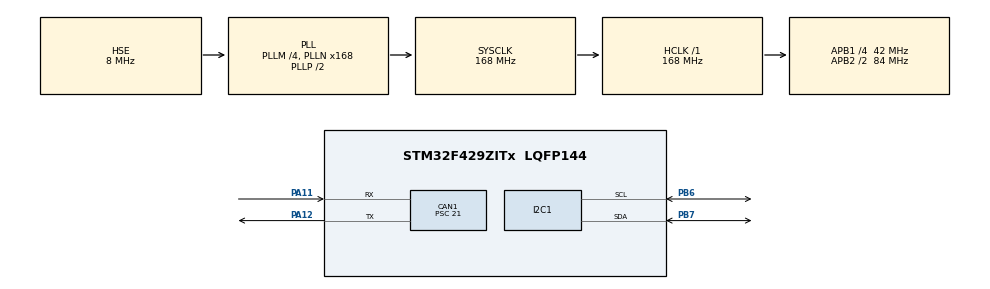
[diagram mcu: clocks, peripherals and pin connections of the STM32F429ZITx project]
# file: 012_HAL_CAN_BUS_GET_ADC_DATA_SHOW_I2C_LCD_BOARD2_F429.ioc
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Mcu.Family=STM32F4
RCC.PLLSourceVirtual=RCC_PLLSOURCE_HSE
RCC.CortexFreq_Value=168000000
CAN1.CalculateBaudRate=117647
PA11.Mode=CAN_Activate
RCC.APB1CLKDivider=RCC_HCLK_DIV4
RCC.SYSCLKSource=RCC_SYSCLKSOURCE_PLLCLK
ProjectManager.StackSize=0x400
PA13.Signal=SYS_JTMS-SWDIO
PA12.Signal=CAN1_TX
CAN1.BS2=CAN_BS2_4TQ
CAN1.BS1=CAN_BS1_12TQ
ProjectManager.TargetToolchain=STM32CubeIDE
I2C1.I2C_Mode=I2C_Standard
PH0/OSC_IN.Mode=HSE-External-Oscillator
RCC.HCLKFreq_Value=168000000
RCC.APB2TimFreq_Value=168000000
PB6.Signal=I2C1_SCL
PH1/OSC_OUT.Signal=RCC_OSC_OUT
PB6.Mode=I2C
RCC.LSE_VALUE=32768
RCC.AHBFreq_Value=168000000
RCC.HSE_VALUE=8000000
board=custom
RCC.VCOOutputFreq_Value=336000000
PH0/OSC_IN.Signal=RCC_OSC_IN
RCC.APB2Freq_Value=84000000
PA14.Mode=Serial_Wire
PB7.Signal=I2C1_SDA
PA13.Mode=Serial_Wire
PH1/OSC_OUT.Mode=HSE-External-Oscillator
Mcu.Name=STM32F429ZITx
RCC.48MHZClocksFreq_Value=84000000
RCC.SYSCLKFreq_VALUE=168000000
CAN1.Prescaler=21
Mcu.Package=LQFP144
PA12.Mode=CAN_Activate
PB7.Mode=I2C
PA11.Signal=CAN1_RX
PA14.Signal=SYS_JTCK-SWCLK
ProjectManager.HeapSize=0x200
RCC.HSI_VALUE=16000000
NVIC.PriorityGroup=NVIC_PRIORITYGROUP_0
RCC.APB2CLKDivider=RCC_HCLK_DIV2
RCC.PLLM=4
RCC.PLLN=168
RCC.APB1TimFreq_Value=84000000
RCC.APB1Freq_Value=42000000
CAN1.CalculateTimeBit=8500.00
NVIC.CAN1_RX0_IRQn=true\:0\:1\:false\:false\:true\:true\:true
CAN1.CalculateTimeQuantum=500.0

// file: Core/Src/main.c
/* USER CODE BEGIN Header */
/**
  ******************************************************************************
  * @file           : main.c
  * @brief          : Main program body
  ******************************************************************************
  * @attention
  *
  * <h2><center>&copy; Copyright (c) 2021 STMicroelectronics.
  * All rights reserved.</center></h2>
  *
  * This software component is licensed by ST under BSD 3-Clause license,
  * the "License"; You may not use this file except in compliance with the
  * License. You may obtain a copy of the License at:
  *                        opensource.org/licenses/BSD-3-Clause
  *
  ******************************************************************************
  */
/* USER CODE END Header */
#include "main.h"

/* USER CODE BEGIN Includes */
#include "i2c-lcd.h"
/* USER CODE END Includes */

CAN_HandleTypeDef hcan1;

I2C_HandleTypeDef hi2c1;

/* USER CODE BEGIN PV */
CAN_TxHeaderTypeDef pTxHeader; // Veri Göndermek için
CAN_RxHeaderTypeDef pRxHeader; // Alacagımız veriler için
CAN_FilterTypeDef sFilterConfig; // Filtre özellikleri için

uint8_t rAdc_value;
/* USER CODE END PV */

void SystemClock_Config(void);
static void MX_GPIO_Init(void);
static void MX_CAN1_Init(void);
static void MX_I2C1_Init(void);

int main(void)
{

  /* MCU Configuration--------------------------------------------------------*/

  /* Reset of all peripherals, Initializes the Flash interface and the Systick. */
  HAL_Init();

  /* Configure the system clock */
  SystemClock_Config();

  /* Initialize all configured peripherals */
  MX_GPIO_Init();
  MX_CAN1_Init();
  MX_I2C1_Init();
  /* USER CODE BEGIN 2 */

  pTxHeader.DLC = 1;
  pRxHeader.IDE = CAN_ID_STD;
  pTxHeader.RTR = CAN_RTR_DATA;
  pTxHeader.StdId = 0x0156;

  // Set Filter Parameters
   sFilterConfig.FilterActivation = ENABLE;      // Enable or disable the filter.
   sFilterConfig.FilterBank = 0 ;                // Specifies the filter bank which will be initialized.
   	  	  	  	  	  	  	  	  	  	  	  	// Filtre numarası en düşük olan en yüksek önceliğe sahiptir.
   sFilterConfig.FilterFIFOAssignment = CAN_FILTER_FIFO0;
   sFilterConfig.FilterIdHigh = 0;  // Filtermizi high'i.FIFO mailbox identifier register'a bak EXID[12:0] 5. bitden sonra başlatalımki STID[10:0] ile tam denk gelsin.
   sFilterConfig.FilterIdLow = 0;
   sFilterConfig.FilterMaskIdHigh =0;    // Filter in tüm bitlerini karşılaştır dedik :)
   sFilterConfig.FilterMaskIdLow = 0;
   sFilterConfig.FilterMode = CAN_FILTERMODE_IDMASK;
   sFilterConfig.FilterScale = CAN_FILTERSCALE_16BIT;

   HAL_CAN_ConfigFilter(&hcan1, &sFilterConfig);

  // Start CAN communication
  HAL_CAN_Start(&hcan1);

  // Enable interrupt
  HAL_CAN_ActivateNotification(&hcan1, CAN_IT_RX_FIFO0_MSG_PENDING);  //brief:  Enable interrupts.
                                            /* hangi interruptı aktif etmek istiyorsak onun parametresini ekledik
                                             @arg CAN_Interrupts can.h kütüphanesinden parametreleri görebiliriz.  */
                     //  can ile mesajı alıcaz (in stm32f4xx_it.c)

  // Alınan veriyi  CAN1_RX0_IRQHandler(void) ile alıcagız. Ayrıntılar -> stm32f4xx_it.c

  // Start Lcd
  lcd_init();

  lcd_send_string("CAN BUS EXAMPLE");

  HAL_Delay(2000);

  /* USER CODE END 2 */

  /* Infinite loop */
  while (1)
  {
/*	  lcd_send_cmd(0x01);
	  HAL_Delay(100);

	  lcd_send_cmd(0x80); // go->  1.1
	  lcd_send_string("  RADC Value: ");
	  HAL_Delay(100);

	  if(rAdc_value<10)
	  {
		  lcd_send_cmd(0xc0); // go-> 2.1
		  lcd_send_data(rAdc_value % 10 + 48);  // tek hane + 48 integer olması için
		  HAL_Delay(100);
	  }
	  else if(rAdc_value > 9 && rAdc_value < 100 )
	  {
		  lcd_send_cmd(0xc0); // go-> 2.1
		  lcd_send_data(rAdc_value / 10 + 48);  // onlar basamagı ,  + 48 integer olması için
		  lcd_send_data(rAdc_value % 10 + 48);  // birler basamagı
		  HAL_Delay(100);
	  }
	  else
	  {
		  lcd_send_cmd(0xc0); // go-> 2.1
		  lcd_send_data( rAdc_value / 100 + 48);  // yüzler basamagı ,  + 48 integer olması için
		  lcd_send_data( (rAdc_value / 10 ) % 10  + 48 );  // onlar basamagı
		  lcd_send_data( rAdc_value % 10 + 48 ); // birler basamagı
		  HAL_Delay(100);
	  }
	  */ // Alınan veriyi  CAN1_RX0_IRQHandler(void) ile alıcagız. Ayrıntılar -> stm32f4xx_it.c
  }
}

void SystemClock_Config(void)
{
  RCC_OscInitTypeDef RCC_OscInitStruct = {0};
  RCC_ClkInitTypeDef RCC_ClkInitStruct = {0};

  /** Configure the main internal regulator output voltage
  */
  __HAL_RCC_PWR_CLK_ENABLE();
  __HAL_PWR_VOLTAGESCALING_CONFIG(PWR_REGULATOR_VOLTAGE_SCALE1);
  /** Initializes the RCC Oscillators according to the specified parameters
  * in the RCC_OscInitTypeDef structure.
  */
  RCC_OscInitStruct.OscillatorType = RCC_OSCILLATORTYPE_HSE;
  RCC_OscInitStruct.HSEState = RCC_HSE_ON;
  RCC_OscInitStruct.PLL.PLLState = RCC_PLL_ON;
  RCC_OscInitStruct.PLL.PLLSource = RCC_PLLSOURCE_HSE;
  RCC_OscInitStruct.PLL.PLLM = 4;
  RCC_OscInitStruct.PLL.PLLN = 168;
  RCC_OscInitStruct.PLL.PLLP = RCC_PLLP_DIV2;
  RCC_OscInitStruct.PLL.PLLQ = 4;
  if (HAL_RCC_OscConfig(&RCC_OscInitStruct) != HAL_OK)
  {
    Error_Handler();
  }
  /** Initializes the CPU, AHB and APB buses clocks
  */
  RCC_ClkInitStruct.ClockType = RCC_CLOCKTYPE_HCLK|RCC_CLOCKTYPE_SYSCLK
                              |RCC_CLOCKTYPE_PCLK1|RCC_CLOCKTYPE_PCLK2;
  RCC_ClkInitStruct.SYSCLKSource = RCC_SYSCLKSOURCE_PLLCLK;
  RCC_ClkInitStruct.AHBCLKDivider = RCC_SYSCLK_DIV1;
  RCC_ClkInitStruct.APB1CLKDivider = RCC_HCLK_DIV4;
  RCC_ClkInitStruct.APB2CLKDivider = RCC_HCLK_DIV2;

  if (HAL_RCC_ClockConfig(&RCC_ClkInitStruct, FLASH_LATENCY_5) != HAL_OK)
  {
    Error_Handler();
  }
}

static void MX_CAN1_Init(void)
{

  hcan1.Instance = CAN1;
  hcan1.Init.Prescaler = 21;
  hcan1.Init.Mode = CAN_MODE_NORMAL;
  hcan1.Init.SyncJumpWidth = CAN_SJW_1TQ;
  hcan1.Init.TimeSeg1 = CAN_BS1_12TQ;
  hcan1.Init.TimeSeg2 = CAN_BS2_4TQ;
  hcan1.Init.TimeTriggeredMode = DISABLE;
  hcan1.Init.AutoBusOff = DISABLE;
  hcan1.Init.AutoWakeUp = DISABLE;
  hcan1.Init.AutoRetransmission = DISABLE;
  hcan1.Init.ReceiveFifoLocked = DISABLE;
  hcan1.Init.TransmitFifoPriority = DISABLE;
  if (HAL_CAN_Init(&hcan1) != HAL_OK)
  {
    Error_Handler();
  }

}

static void MX_I2C1_Init(void)
{

  hi2c1.Instance = I2C1;
  hi2c1.Init.ClockSpeed = 100000;
  hi2c1.Init.DutyCycle = I2C_DUTYCYCLE_2;
  hi2c1.Init.OwnAddress1 = 0;
  hi2c1.Init.AddressingMode = I2C_ADDRESSINGMODE_7BIT;
  hi2c1.Init.DualAddressMode = I2C_DUALADDRESS_DISABLE;
  hi2c1.Init.OwnAddress2 = 0;
  hi2c1.Init.GeneralCallMode = I2C_GENERALCALL_DISABLE;
  hi2c1.Init.NoStretchMode = I2C_NOSTRETCH_DISABLE;
  if (HAL_I2C_Init(&hi2c1) != HAL_OK)
  {
    Error_Handler();
  }
  /** Configure Analogue filter
  */
  if (HAL_I2CEx_ConfigAnalogFilter(&hi2c1, I2C_ANALOGFILTER_ENABLE) != HAL_OK)
  {
    Error_Handler();
  }
  /** Configure Digital filter
  */
  if (HAL_I2CEx_ConfigDigitalFilter(&hi2c1, 0) != HAL_OK)
  {
    Error_Handler();
  }

}

static void MX_GPIO_Init(void)
{

  /* GPIO Ports Clock Enable */
  __HAL_RCC_GPIOH_CLK_ENABLE();
  __HAL_RCC_GPIOA_CLK_ENABLE();
  __HAL_RCC_GPIOB_CLK_ENABLE();

}

void Error_Handler(void)
{
  __disable_irq();
  while (1)
  {
  }
}

/************************ (C) COPYRIGHT STMicroelectronics *****END OF FILE****/
